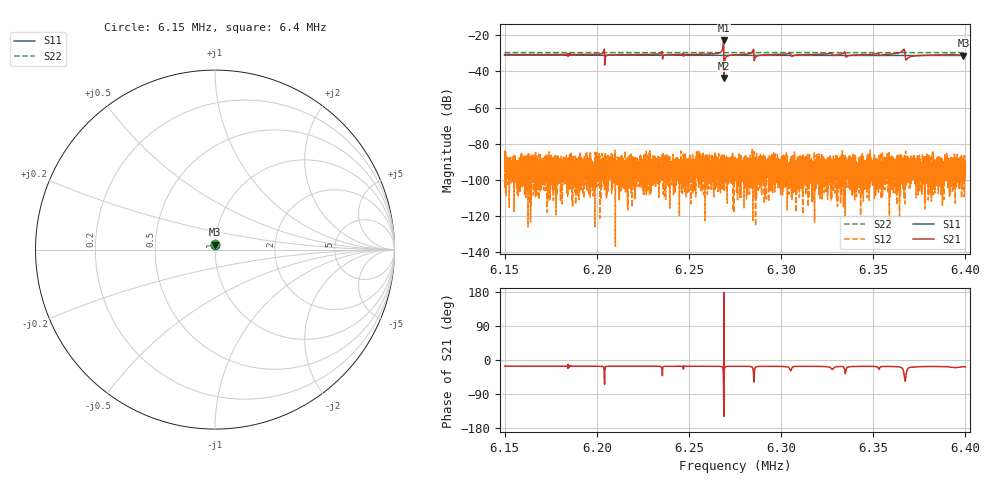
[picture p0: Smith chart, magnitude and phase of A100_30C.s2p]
!CETC41,AV3656A,ZGL00048,1.3.2
!Calibration ON (Full Solt 2-Port(Omit Isolation))
!Measurements: S11 S21 S12 S22
!2025-04-18 22:08
# Hz  S  dB  R 50.000
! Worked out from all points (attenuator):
!   6401 points, 6.15 MHz to 6.4 MHz, reference 50 ohm
!   highest |S21| = -22.88 dB at 6.2688 MHz (marker M1); lowest = -43.6 dB at 6.269 MHz (marker M2)
!   lowest |S11| = -31.2 dB at 6.3989 MHz (marker M3), VSWR 1.06, Z = 49.9 + j2.75 ohm
!   |S11| at or under -10 dB: start of sweep to end of sweep
!   |S22| runs from -29.6 to -29.6 dB; largest |S21 - S12| = 0.072
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6150000  -31.00 84.4  -30.69 -16.3  -90.25 27.0  -29.57 89.9
6191680  -31.03 85.5  -30.60 -16.5  -93.73 -59.8  -29.59 90.8
6202930  -31.05 85.7  -30.02 -16.8  -91.42 17.5  -29.57 91.0
6205469  -31.05 85.8  -31.20 -16.7  -97.95 -4.9  -29.58 91.1
6233359  -31.06 86.5  -30.39 -16.7  -95.07 97.8  -29.59 91.7
6262852  -31.11 87.2  -30.30 -16.6  -89.48 68.9  -29.60 92.4
6267656  -31.09 87.3  -29.04 -17.3  -87.30 63.1  -29.60 92.4
6268789  -31.10 87.3  -22.88 -69.2  -103.43 -2.9  -29.60 92.4
6269023  -31.09 87.3  -43.63 -9.8  -94.55 -65.9  -29.60 92.4
6270234  -31.11 87.4  -31.95 -17.1  -94.31 114.6  -29.60 92.4
6275000  -31.11 87.6  -30.79 -16.8  -87.66 15.6  -29.60 92.6
6283984  -31.11 87.7  -29.68 -17.7  -92.13 82.5  -29.60 92.7
6286563  -31.12 87.8  -31.70 -17.8  -89.51 -97.8  -29.60 92.8
6303750  -31.12 88.2  -30.15 -18.8  -91.11 0.2  -29.61 93.2
6306563  -31.13 88.2  -31.38 -18.0  -92.29 28.1  -29.61 93.2
6316680  -31.14 88.5  -30.65 -16.8  -111.88 38.0  -29.62 93.4
6358359  -31.17 89.4  -30.47 -17.0  -91.78 125.9  -29.62 94.3
6365977  -31.19 89.6  -28.53 -23.4  -91.60 -131.1  -29.63 94.5
6368711  -31.19 89.7  -32.78 -23.1  -89.80 101.9  -29.62 94.4
6376484  -31.20 89.9  -31.18 -17.4  -91.49 -10.2  -29.63 94.6
6398945  -31.22 90.5  -30.94 -18.0  -89.07 126.3  -29.64 95.1
6400000  -31.20 90.4  -30.89 -17.9  -91.43 27.5  -29.63 95.1
